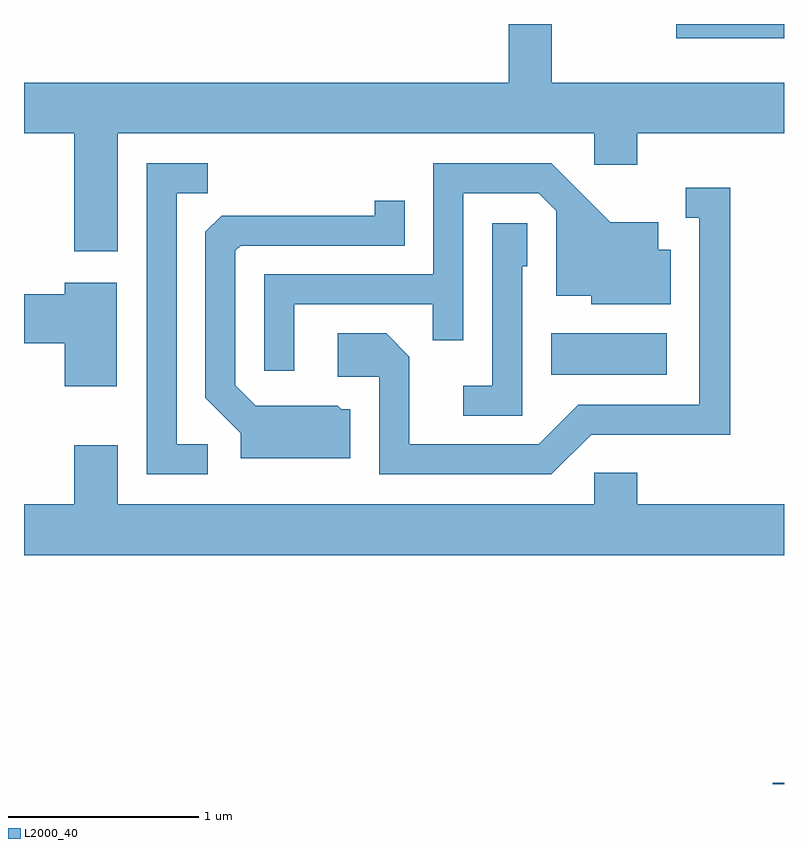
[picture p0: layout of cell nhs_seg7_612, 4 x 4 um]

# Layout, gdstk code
import gdstk
lib = gdstk.Library(unit=1e-6, precision=1e-09)
def R(c, l, rs):  # rectangles x0, y0, x1, y1
    for r in rs: c.add(gdstk.rectangle(r[:2], r[2:], *l))
def P(c, l, *ps):  # polygons
    for p in ps: c.add(gdstk.Polygon(p, *l))
L2000_40 = (2000, 40)

nhs_seg7_612 = lib.new_cell('nhs_seg7_612')
R(nhs_seg7_612, L2000_40, [(207.551,1684.252,207.611,1684.259), (206.386,1686.406,206.994,1686.624), (207.043,1688.176,207.611,1688.252)])
P(nhs_seg7_612, L2000_40, [(204.104,1687.676),(206.611,1687.676),(206.611,1687.511),(206.839,1687.511),(206.839,1687.676),(207.611,1687.676),(207.611,1687.944),(206.389,1687.944),(206.389,1688.252),(206.161,1688.252),(206.161,1687.944),(203.611,1687.944),(203.611,1687.676),(203.876,1687.676),(203.876,1687.056),(204.104,1687.056)],
  [(204.578,1686.039),(204.414,1686.039),(204.414,1687.361),(204.578,1687.361),(204.578,1687.519),(204.256,1687.519),(204.256,1685.881),(204.578,1685.881)],
  [(205.034,1686.776),(205.761,1686.776),(205.761,1686.588),(205.924,1686.588),(205.924,1687.361),(206.319,1687.361),(206.411,1687.269),(206.411,1686.821),(206.596,1686.821),(206.596,1686.776),(207.014,1686.776),(207.014,1687.064),(206.949,1687.064),(206.949,1687.209),(206.697,1687.209),(206.387,1687.519),(205.766,1687.519),(205.766,1686.934),(204.876,1686.934),(204.876,1686.428),(205.034,1686.428)],
  [(206.597,1686.091),(207.329,1686.091),(207.329,1687.389),(207.093,1687.389),(207.093,1687.231),(207.166,1687.231),(207.166,1686.249),(206.529,1686.249),(206.319,1686.039),(205.639,1686.039),(205.639,1686.502),(205.517,1686.624),(205.261,1686.624),(205.261,1686.396),(205.481,1686.396),(205.481,1685.881),(206.387,1685.881)],
  [(205.329,1686.224),(205.282,1686.224),(205.262,1686.244),(204.832,1686.244),(204.724,1686.352),(204.724,1687.059),(204.752,1687.086),(205.614,1687.086),(205.614,1687.323),(205.456,1687.323),(205.456,1687.244),(204.652,1687.244),(204.566,1687.159),(204.566,1686.284),(204.751,1686.099),(204.751,1685.966),(205.329,1685.966)],
  [(206.234,1686.976),(206.259,1686.976),(206.259,1687.204),(206.076,1687.204),(206.076,1686.349),(205.923,1686.349),(205.923,1686.191),(206.234,1686.191)],
  [(204.099,1686.889),(203.826,1686.889),(203.826,1686.829),(203.611,1686.829),(203.611,1686.571),(203.826,1686.571),(203.826,1686.346),(204.099,1686.346)],
  [(207.611,1685.724),(206.839,1685.724),(206.839,1685.889),(206.611,1685.889),(206.611,1685.724),(204.104,1685.724),(204.104,1686.034),(203.876,1686.034),(203.876,1685.724),(203.611,1685.724),(203.611,1685.456),(207.611,1685.456)])

lib.write_gds('nhs_seg7_612.gds')
